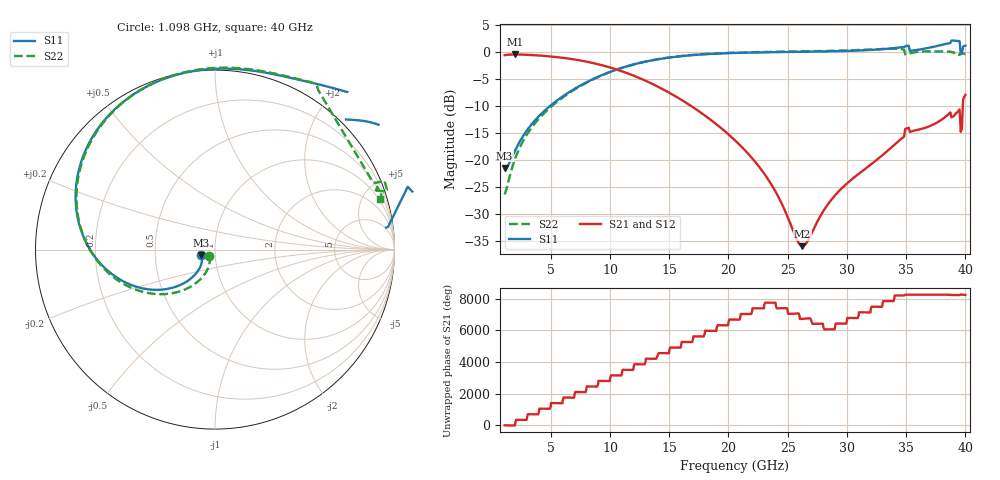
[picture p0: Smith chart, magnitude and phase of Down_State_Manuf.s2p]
! Touchstone file exported from HFSS 2020.2.0
!  File:  C:/Users/user/Desktop/Manuf_Based.aedt
!  Generated:  8:33:44 PM  Nov 22, 2020
!  Design:  Enguzeldowm
!  Project:  Manuf_Based
!  Setup:  Setup1
!  Solution:  Sweep
! Variables:
!  Bridge_Height = 0
!  L_Bridge = 400um
!  L_Gold_Recess = 300um
!  L_Model = 780um
!  L_Recess = 180um
!  L_Upper_Pad = 60um
!  L_tl_Unmatched = 600um
!  Lambda = 11530479.1538nm
!  W_Anchor = 60um
!  W_Bridge = 60um
!  W_Gold_Recess = 60um
!  W_Lower_Pad = 85um
!  W_Model = 2200um
!  W_Recess = 400um
!  W_Upper_Pad = 85um
!  W_gap = 100um
!  W_real_pad = 60um
!  W_signal = 85um
!  h_Recess = 1.5um
!  t_dielectric = 0.5um
!  t_gold = 1um
!  t_substrate = 500um
# GHZ S MA R 50.000000
! Terminal data exported
! Port[1] = 1
! Port[2] = 2
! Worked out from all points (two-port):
!   431 points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, 1.098 GHz to 40 GHz, reference 50 ohm
!   highest |S21| = -0.41 dB at 1.977 GHz (marker M1); lowest = -36.0 dB at 26.22 GHz (marker M2)
!   |S21| within 3 dB of the highest: start of sweep to 10.85 GHz
!   lowest |S11| = -21.5 dB at 1.098 GHz (marker M3), VSWR 1.18, Z = 42.7 - j2.83 ohm
!   |S11| at or under -10 dB: start of sweep to 4.913 GHz
!   |S22| runs from -26.4 to 0.7 dB; largest |S21 - S12| = 5.5e-15
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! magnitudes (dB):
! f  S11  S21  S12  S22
! 1.098 GHz  -21.5  -0.5  -0.5  -26.4
! 1.977 GHz  -18.3  -0.4  -0.4  -19.8
! 3.053 GHz  -14.3  -0.5  -0.5  -15.0
! 4.03 GHz  -11.8  -0.6  -0.6  -12.2
! 7.647 GHz  -6.0  -1.6  -1.6  -6.1
! 14.1 GHz  -1.3  -6.5  -6.5  -1.3
! 18 GHz  -0.4  -11.7  -11.7  -0.3
! 20.65 GHz  -0.1  -16.6  -16.6  -0.1
! 23.97 GHz  0.0  -25.9  -25.9  0.1
! 25.73 GHz  0.1  -34.6  -34.6  0.1
! 26.22 GHz  0.1  -36.0  -36.0  0.2
! 27.1 GHz  0.1  -33.2  -33.2  0.2
! 29.05 GHz  0.2  -26.4  -26.4  0.3
! 33.55 GHz  0.7  -18.1  -18.1  0.7
! 34.62 GHz  0.9  -16.0  -16.0  0.6
! 35.02 GHz  1.1  -14.2  -14.2  -0.3
! 35.5 GHz  0.3  -14.6  -14.6  -0.1
! 36.58 GHz  0.7  -14.0  -14.0  0.2
! 39.32 GHz  2.1  -11.1  -11.1  -0.4
! 39.51 GHz  2.1  -10.6  -10.6  -0.5
! 39.8 GHz  1.1  -8.8  -8.8  -0.2
! 40 GHz  1.2  -7.9  -7.9  -0.4
